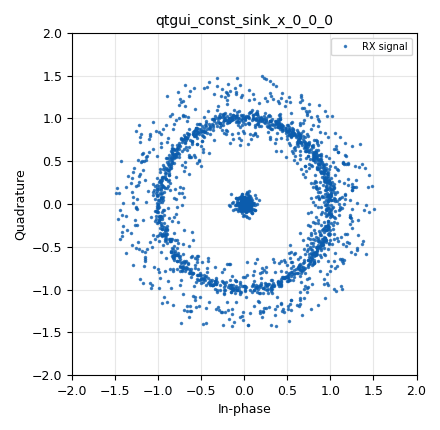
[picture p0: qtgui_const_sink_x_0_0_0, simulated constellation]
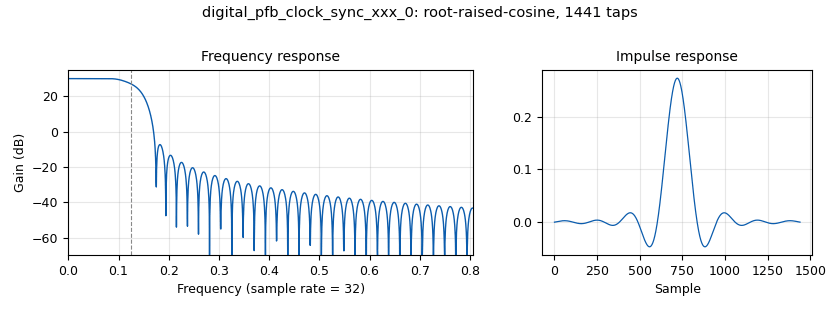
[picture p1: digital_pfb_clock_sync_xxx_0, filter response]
options:
  parameters:
    author: Javier Arribas
    copyright: GPL v3 Public License
    generate_options: qt_gui
    id: A2
    output_language: python
    title: Test PLL as a BPSK receiver
  states: {}

blocks:
- name: freq_offset
  id: variable
  parameters:
    value: '0.01'
  states: {}
- name: nfilts
  id: variable
  parameters:
    value: '32'
  states: {}
- name: noise_volt
  id: variable
  parameters:
    value: '0.05'
  states: {}
- name: psk
  id: variable_constellation
  parameters:
    precision: '8'
    type: bpsk
  states: {}
- name: rrc_taps
  id: variable
  parameters:
    value: firdes.root_raised_cosine(nfilts, nfilts, 1.0/float(sps), 0.35, 45*nfilts)
  states: {}
- name: samp_rate
  id: variable
  parameters:
    value: '32000'
  states: {}
- name: sps
  id: variable
  parameters:
    value: '4'
  states: {}
- name: taps
  id: variable
  parameters:
    value: '[1.0 + 0.0j, ]'
  states: {}
- name: time_offset
  id: variable
  parameters:
    value: '1.0'
  states: {}
- name: timing_loop_bw
  id: variable
  parameters:
    value: '0.0628'
  states: {}
- name: analog_random_source_x_0
  id: analog_random_source_x
  parameters:
    max: '255'
    min: '0'
    num_samps: '10000'
    repeat: 'True'
    type: byte
  states: {}
- name: blocks_multiply_conjugate_cc_0
  id: blocks_multiply_conjugate_cc
  parameters: {}
  states: {}
- name: blocks_throttle_0
  id: blocks_throttle
  parameters:
    samples_per_second: samp_rate
    type: complex
  states: {}
- name: channels_channel_model_0
  id: channels_channel_model
  parameters:
    epsilon: time_offset
    freq_offset: freq_offset
    noise_voltage: noise_volt
    seed: '0'
    taps: taps
  states: {}
- name: channels_phase_noise_gen_0
  id: channels_phase_noise_gen
  parameters:
    alpha: '0.1'
    noise_mag: '0.5'
  states: {}
- name: digital_constellation_modulator_0
  id: digital_constellation_modulator
  parameters:
    constellation: psk
    differential: 'False'
    excess_bw: '1'
    samples_per_symbol: sps
  states: {}
- name: digital_pfb_clock_sync_xxx_0
  id: digital_pfb_clock_sync_xxx
  parameters:
    filter_size: nfilts
    init_phase: nfilts/2
    loop_bw: timing_loop_bw
    max_dev: '1.5'
    osps: '1'
    sps: sps*1.001
    taps: rrc_taps
    type: ccf
  states: {}
- name: import_0
  id: import
  parameters:
    imports: from math import pi
  states: {}
- name: import_0_0
  id: import
  parameters:
    imports: import cmath
  states: {}
- name: pll_sdrpll_0
  id: pll_sdrpll
  parameters:
    a2: '0'
    a3: '0'
    b3: '0'
    bw_hz: '10'
    custom_params: 'False'
    detector_type: '2'
    filt_order: '2'
    k_d: '1'
    k_o: '1'
    nco_base_freq_hz: samp_rate*freq_offset
    period: 1/samp_rate
    w0: '0'
  states: {}
- name: qtgui_const_sink_x_0_0
  id: qtgui_const_sink_x
  parameters:
    alpha1: '0.5'
    gui_hint: 1,2,1,2
    label1: PLL carr.  and Timing Recov.
    name: ''
    size: '2048'
    type: complex
  states: {}
- name: qtgui_const_sink_x_0_0_0
  id: qtgui_const_sink_x
  parameters:
    alpha1: '0.5'
    gui_hint: 1,0,1,2
    label1: RX signal
    name: ''
    size: '2048'
    type: complex
  states: {}
- name: qtgui_freq_sink_x_0
  id: qtgui_freq_sink_x
  parameters:
    bw: samp_rate
    fc: '0'
    fftsize: '1024'
    label1: RX signal
    label2: PLL carrier recovery
    nconnections: '2'
    type: complex
    wintype: firdes.WIN_BLACKMAN_hARRIS
  states: {}
- name: qtgui_time_sink_x_0
  id: qtgui_time_sink_x
  parameters:
    autoscale: 'True'
    label1: PLL Freq. out
    name: PLL Loop Filter frequency out
    size: '1024'
    srate: samp_rate
    type: float
    yunit: '[Hz]'
  states: {}

connections:
- [analog_random_source_x_0, '0', digital_constellation_modulator_0, '0']
- [blocks_multiply_conjugate_cc_0, '0', digital_pfb_clock_sync_xxx_0, '0']
- [blocks_throttle_0, '0', blocks_multiply_conjugate_cc_0, '0']
- [blocks_throttle_0, '0', pll_sdrpll_0, '0']
- [blocks_throttle_0, '0', qtgui_const_sink_x_0_0_0, '0']
- [blocks_throttle_0, '0', qtgui_freq_sink_x_0, '0']
- [channels_channel_model_0, '0', channels_phase_noise_gen_0, '0']
- [channels_phase_noise_gen_0, '0', blocks_throttle_0, '0']
- [digital_constellation_modulator_0, '0', channels_channel_model_0, '0']
- [digital_pfb_clock_sync_xxx_0, '0', qtgui_const_sink_x_0_0, '0']
- [pll_sdrpll_0, '0', blocks_multiply_conjugate_cc_0, '1']
- [pll_sdrpll_0, '0', qtgui_freq_sink_x_0, '1']
- [pll_sdrpll_0, '1', qtgui_time_sink_x_0, '0']

metadata:
  file_format: 1
